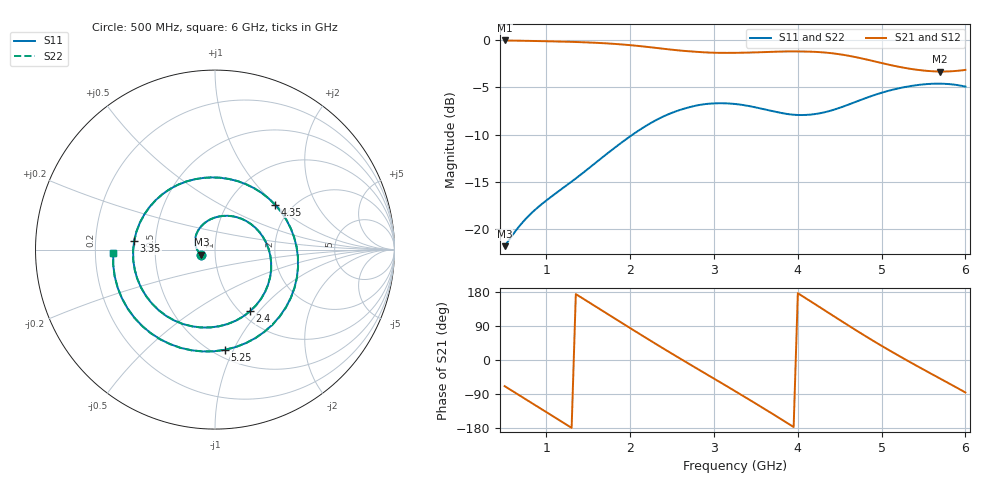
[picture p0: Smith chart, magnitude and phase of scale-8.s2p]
! Touchstone file from project sampleWidthScale-8
! Exported from HFSS-IE 2014.0.2
! Variables:
!  $perm = 6
!  impedance = 157.9ohm
!  insulationThickness = 0in
!  length = 4in
!  portSize = 1mm
!  sampleSide = 1in
!  sampleThickness = 0.25in
!  scale = 8
!  spacing = 0.25in
!  wireDiam = 0.125in
!  wireRadius = 0.0625in
# GHZ S MA R 157.900000
! Terminal data exported
! Port[1] = Rectangle2_T1
! Port[2] = Rectangle2_T2
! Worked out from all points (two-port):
!   111 points, 500 MHz to 6 GHz, reference 157.9 ohm
!   highest |S21| = -0.04 dB at 500 MHz (marker M1); lowest = -3.3 dB at 5.7 GHz (marker M2)
!   |S21| within 3 dB of the highest: start of sweep to 5.341 GHz
!   lowest |S11| = -21.8 dB at 500 MHz (marker M3), VSWR 1.18, Z = 135 - j7.79 ohm
!   |S11| at or under -10 dB: start of sweep to 2.029 GHz
!   |S22| runs from -21.8 to -4.6 dB; largest |S21 - S12| = 2.5e-15
!   S11 on the Smith chart (normalised r, x): 500 MHz: 0.86, -0.05; 2.4 GHz: 1.10, -0.90; 3.35 GHz: 0.38, +0.05; 4.35 GHz: 1.63, +0.99; 5.25 GHz: 0.57, -0.93; 6 GHz: 0.28, -0.02
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0.5  0.0811 -159.4  0.9958 -69.0  0.9958 -69.0  0.08109 -159.3
0.75  0.1129 166.1  0.9914 -103.4  0.9914 -103.4  0.1128 166.2
1.05  0.1474 124.9  0.9851 -144.7  0.9851 -144.7  0.1473 125.0
1.25  0.1716 97.4  0.9803 -172.2  0.9803 -172.2  0.1716 97.5
1.45  0.2005 69.9  0.9736 160.1  0.9736 160.1  0.2005 70.0
1.7  0.2458 35.3  0.962 125.5  0.962 125.5  0.2458 35.4
1.9  0.2876 7.7  0.9485 97.8  0.9485 97.8  0.2876 7.7
2.1  0.3321 -19.7  0.9309 70.3  0.9309 70.3  0.3322 -19.7
2.35  0.3855 -53.6  0.9049 36.4  0.9049 36.4  0.3857 -53.6
2.4  0.3951 -60.3  0.8996 29.7  0.8996 29.7  0.3953 -60.3
2.8  0.4514 -113.2  0.8665 -23.1  0.8665 -23.1  0.4513 -113.2
3.25  0.4591 -172.8  0.8564 -82.1  0.8564 -82.1  0.4591 -172.8
3.35  0.4529 173.8  0.8579 -95.3  0.8579 -95.3  0.4529 173.8
3.8  0.4117 112.9  0.8698 -156.1  0.8698 -156.1  0.4118 112.9
4  0.4014 85.6  0.8709 176.1  0.8709 176.1  0.4014 85.6
4.2  0.4056 57.8  0.8667 148.1  0.8667 148.1  0.4056 57.8
4.35  0.4181 36.8  0.8573 126.9  0.8573 126.9  0.4182 36.8
4.7  0.4728 -12.0  0.811 77.8  0.811 77.8  0.4733 -12.0
5.1  0.5417 -65.5  0.7389 24.5  0.7389 24.5  0.5421 -65.5
5.25  0.5611 -84.5  0.7162 5.6  0.7162 5.6  0.5614 -84.5
5.7  0.5879 -140.0  0.6818 -49.3  0.6818 -49.3  0.5882 -140.0
6  0.5673 -177.9  0.6956 -85.7  0.6956 -85.7  0.5677 -177.9
